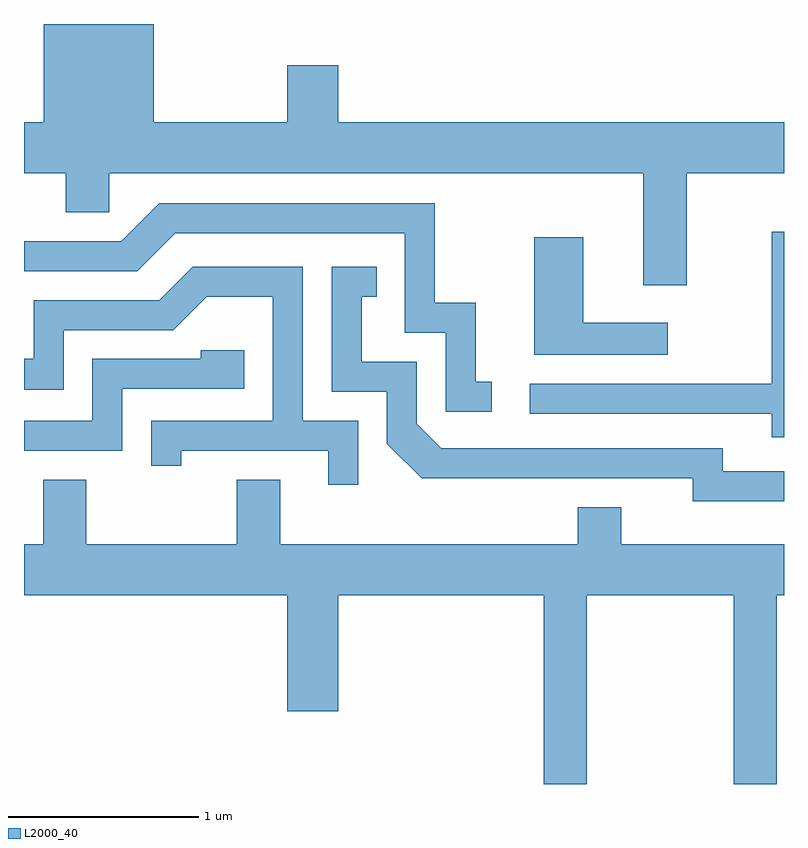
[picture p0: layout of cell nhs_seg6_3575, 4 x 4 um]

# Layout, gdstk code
import gdstk
lib = gdstk.Library(unit=1e-6, precision=1e-09)
def P(c, l, *ps):  # polygons
    for p in ps: c.add(gdstk.Polygon(p, *l))
L2000_40 = (2000, 40)

nhs_seg6_3575 = lib.new_cell('nhs_seg6_3575')
P(nhs_seg6_3575, L2000_40, [(297.099,1543.376),(297.611,1543.376),(297.611,1543.644),(295.264,1543.644),(295.264,1543.944),(294.996,1543.944),(294.996,1543.644),(294.294,1543.644),(294.294,1544.162),(293.716,1544.162),(293.716,1543.644),(293.611,1543.644),(293.611,1543.376),(293.831,1543.376),(293.831,1543.171),(294.059,1543.171),(294.059,1543.376),(296.871,1543.376),(296.871,1542.786),(297.099,1542.786)],
  [(296.073,1542.279),(295.989,1542.279),(295.989,1542.694),(295.774,1542.694),(295.774,1543.219),(294.324,1543.219),(294.124,1543.019),(293.611,1543.019),(293.611,1542.861),(294.207,1542.861),(294.407,1543.061),(295.616,1543.061),(295.616,1542.536),(295.831,1542.536),(295.831,1542.121),(296.073,1542.121)],
  [(297.611,1543.068),(297.546,1543.068),(297.546,1542.269),(296.273,1542.269),(296.273,1542.111),(297.546,1542.111),(297.546,1541.988),(297.611,1541.988)],
  [(296.998,1542.589),(296.554,1542.589),(296.554,1543.039),(296.296,1543.039),(296.296,1542.421),(296.998,1542.421)],
  [(295.369,1542.074),(295.079,1542.074),(295.079,1542.884),(294.499,1542.884),(294.324,1542.709),(293.661,1542.709),(293.661,1542.399),(293.611,1542.399),(293.611,1542.236),(293.819,1542.236),(293.819,1542.551),(294.397,1542.551),(294.572,1542.726),(294.921,1542.726),(294.921,1542.074),(294.281,1542.074),(294.281,1541.838),(294.439,1541.838),(294.439,1541.916),(295.211,1541.916),(295.211,1541.738),(295.369,1541.738)],
  [(297.611,1541.809),(297.289,1541.809),(297.289,1541.929),(295.807,1541.929),(295.679,1542.057),(295.679,1542.384),(295.389,1542.384),(295.389,1542.726),(295.468,1542.726),(295.468,1542.884),(295.231,1542.884),(295.231,1542.226),(295.521,1542.226),(295.521,1541.954),(295.704,1541.771),(297.131,1541.771),(297.131,1541.651),(297.611,1541.651)],
  [(294.129,1542.241),(294.769,1542.241),(294.769,1542.444),(294.541,1542.444),(294.541,1542.399),(293.971,1542.399),(293.971,1542.074),(293.611,1542.074),(293.611,1541.916),(294.129,1541.916)],
  [(293.711,1541.764),(293.711,1541.424),(293.611,1541.424),(293.611,1541.156),(294.996,1541.156),(294.996,1540.546),(295.264,1540.546),(295.264,1541.156),(296.346,1541.156),(296.346,1540.162),(296.574,1540.162),(296.574,1541.156),(297.346,1541.156),(297.346,1540.162),(297.574,1540.162),(297.574,1541.156),(297.611,1541.156),(297.611,1541.424),(296.754,1541.424),(296.754,1541.619),(296.526,1541.619),(296.526,1541.424),(294.959,1541.424),(294.959,1541.764),(294.731,1541.764),(294.731,1541.424),(293.939,1541.424),(293.939,1541.764)])

lib.write_gds('nhs_seg6_3575.gds')
